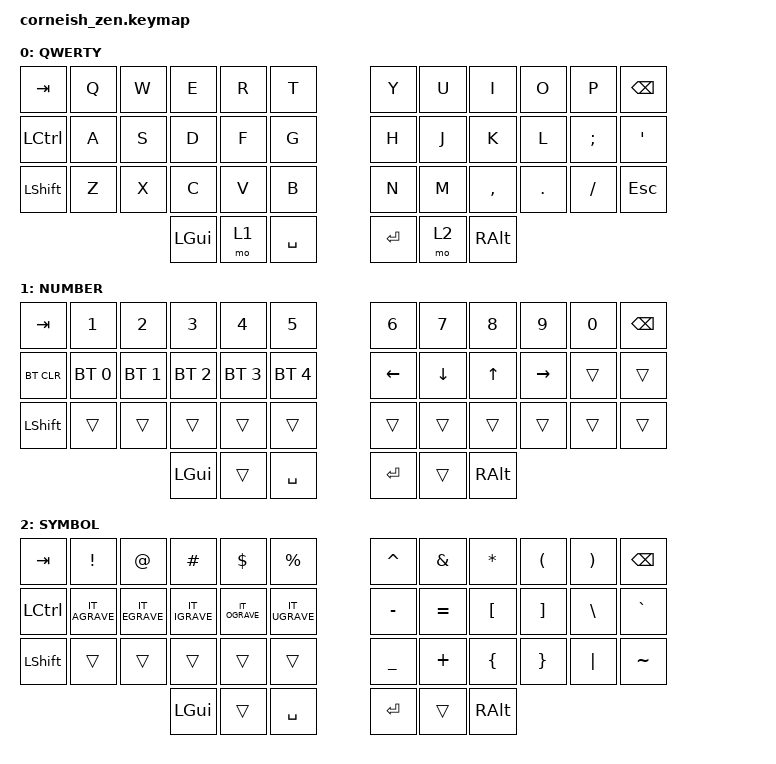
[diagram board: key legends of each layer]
#include <behaviors.dtsi>
#include <dt-bindings/zmk/keys.h>
#include <dt-bindings/zmk/bt.h>

/ {
    chosen {
        zmk,matrix_transform = &default_transform;
        // zmk,matrix_transform = &five_column_transform;
    };
};

/ {
    keymap {
        compatible = "zmk,keymap";

        default_layer {
            label = "QWERTY";
            bindings = <
                &kp TAB   &kp Q &kp W &kp E &kp R &kp T    &kp Y &kp U  &kp I     &kp O   &kp P    &kp BSPC
                &kp LCTRL &kp A &kp S &kp D &kp F &kp G    &kp H &kp J  &kp K     &kp L   &kp SEMI &kp SQT
                &kp LSHFT &kp Z &kp X &kp C &kp V &kp B    &kp N &kp M  &kp COMMA &kp DOT &kp FSLH &kp ESC
                             &kp LGUI &mo 1 &kp SPACE      &kp RET &mo 2 &kp RALT
            >;
        };

        lower_layer {
            label = "NUMBER";
            bindings = <
                &kp TAB    &kp N1       &kp N2       &kp N3       &kp N4       &kp N5         &kp N6   &kp N7   &kp N8 &kp N9    &kp N0 &kp BSPC
                &bt BT_CLR &bt BT_SEL 0 &bt BT_SEL 1 &bt BT_SEL 2 &bt BT_SEL 3 &bt BT_SEL 4   &kp LEFT &kp DOWN &kp UP &kp RIGHT &trans &trans
                &kp LSHFT  &trans       &trans       &trans       &trans       &trans         &trans   &trans   &trans &trans    &trans &trans
                                           &kp LGUI     &trans       &kp SPACE      &kp RET  &trans   &kp RALT
            >;
        };

        raise_layer {
            label = "SYMBOL";
            bindings = <
                &kp TAB   &kp EXCL &kp AT  &kp HASH &kp DLLR &kp PRCNT    &kp CARET &kp AMPS  &kp STAR &kp LPAR &kp RPAR &kp BSPC
                &kp LCTRL &kp IT_AGRAVE &kp IT_EGRAVE &kp IT_IGRAVE &kp IT_OGRAVE &kp IT_UGRAVE   &kp MINUS &kp EQUAL &kp LBKT &kp RBKT &kp BSLH &kp GRAVE
                &kp LSHFT &trans   &trans &trans   &trans   &trans        &kp UNDER &kp PLUS  &kp LBRC &kp RBRC &kp PIPE &kp TILDE
                              &kp LGUI &trans   &kp SPACE   &kp RET   &trans    &kp RALT
            >;
        };
    };
};
